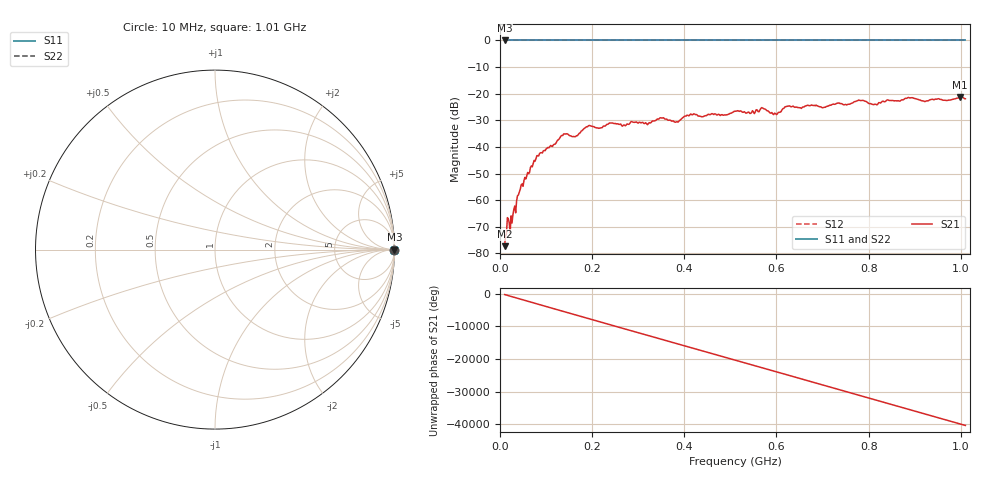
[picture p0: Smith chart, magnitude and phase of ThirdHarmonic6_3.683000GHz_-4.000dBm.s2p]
! 8/17/2025 12:28:29 PM
! C:\ANRITSUVNA\TEMP\TEMP.S2P
! CHANNEL.1
! TR.MEASUREMENT
! RAW.DATA
! RF.CORRECTION.OFF
! AVERAGING.OFF
! IF.BANDWIDTH: 5KHZ
! SWEEPTYPE:  FREQ.SWEEP(Linear)
! Reference Plane Port Info
! PORT:  PORT1  PORT2
! DISTANCE:  0  m  0  m
! TIME:  0  s  0  s
! PHASE.OFFSET:  0  deg.  0  deg.
! LOSS:  0  dB  0  dB
! REF.LOSS:  0  dB  0  dB
! REF.FREQ:  0  Hz  0  Hz
! Power Info
! POWER:  -20  dBm  -20  dBm
! EFF.POWER:  -20  dBm  -20  dBm
! SOURCE.ATTEN:  0  dB  0  dB
! TEST.ATTEN:  0  dB  0  dB
# GHZ S RI R 50.0
! FREQ.GHZ  S11RE  S11IM  S21RE  S21IM  S12RE  S12IM  S22RE  S22IM
!; PortSelection: Port_12
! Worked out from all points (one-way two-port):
!   501 points, 10 MHz to 1.01 GHz, reference 50 ohm
!   highest |S21| = -21.23 dB at 998 MHz (marker M1); lowest = -77.3 dB at 10 MHz (marker M2)
!   lowest |S11| = 0.0 dB at 10 MHz (marker M3)
!   |S11| at or under -10 dB: nowhere
!   |S22| runs from 0.0 to 0.0 dB; largest |S21 - S12| = 1.1
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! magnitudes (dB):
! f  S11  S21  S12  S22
! 10 MHz  0.0  -77.3  0.0  0.0
! 16 MHz  0.0  -66.6  0.0  0.0
! 24 MHz  0.0  -65.9  0.0  0.0
! 42 MHz  0.0  -56.9  0.0  0.0
! 78 MHz  0.0  -44.4  0.0  0.0
! 136 MHz  0.0  -35.7  0.0  0.0
! 164 MHz  0.0  -36.1  0.0  0.0
! 178 MHz  0.0  -33.9  0.0  0.0
! 192 MHz  0.0  -32.0  0.0  0.0
! 322 MHz  0.0  -31.2  0.0  0.0
! 344 MHz  0.0  -29.6  0.0  0.0
! 382 MHz  0.0  -30.7  0.0  0.0
! 418 MHz  0.0  -27.9  0.0  0.0
! 510 MHz  0.0  -26.6  0.0  0.0
! 570 MHz  0.0  -25.4  0.0  0.0
! 598 MHz  0.0  -27.5  0.0  0.0
! 624 MHz  0.0  -24.7  0.0  0.0
! 678 MHz  0.0  -24.3  0.0  0.0
! 814 MHz  0.0  -23.9  0.0  0.0
! 844 MHz  0.0  -22.5  0.0  0.0
! 998 MHz  0.0  -21.2  0.0  0.0
! 1.01 GHz  0.0  -21.9  0.0  0.0
